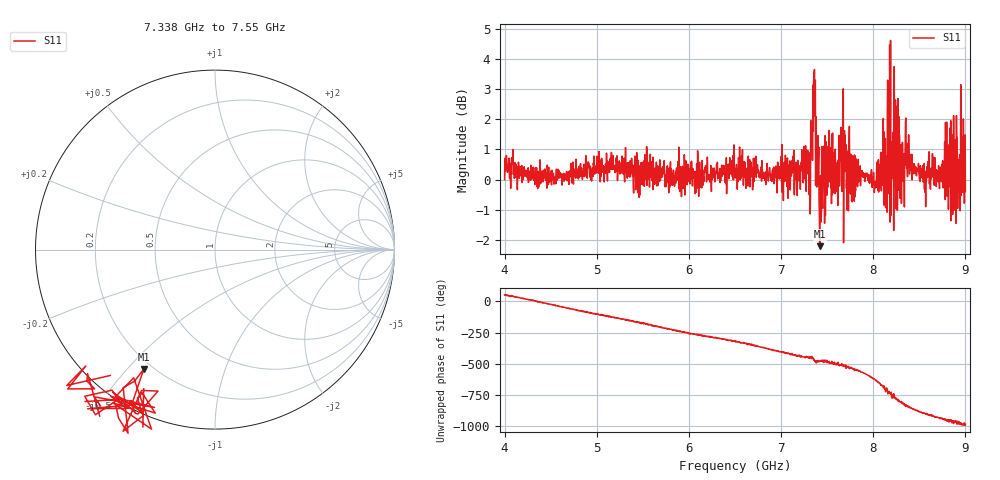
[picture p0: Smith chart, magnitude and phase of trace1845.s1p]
! Created with skrf 1.8.0 (http://scikit-rf.org).
# Hz S RI R 50.0
!freq ReS11 ImS11
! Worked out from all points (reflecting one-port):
!   1601 points, 4 GHz to 9 GHz, reference 50 ohm
!   lowest |S11| = -2.2 dB at 7.419 GHz (marker M1), VSWR 7.88, Z = 8.35 - j27.8 ohm
!   phase of S11 starts at 51 deg and turns -1035 deg over the sweep
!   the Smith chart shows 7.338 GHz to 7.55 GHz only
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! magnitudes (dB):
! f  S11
! 4 GHz  0.0
! 4.625 GHz  -0.2
! 5.25 GHz  0.2
! 5.875 GHz  0.1
! 6.5 GHz  0.2
! 7.125 GHz  0.4
! 7.294 GHz  0.3
! 7.325 GHz  1.3
! 7.347 GHz  3.1
! 7.378 GHz  2.1
! 7.4 GHz  1.5
! 7.419 GHz  -2.2
! 7.438 GHz  -1.1
! 7.534 GHz  0.2
! 7.609 GHz  0.6
! 7.65 GHz  1.7
! 7.703 GHz  0.5
! 7.75 GHz  -0.2
! 8.009 GHz  -0.2
! 8.125 GHz  -0.8
! 8.178 GHz  4.5
! 8.209 GHz  0.1
! 8.253 GHz  0.6
! 8.312 GHz  1.1
! 8.375 GHz  0.7
! 8.553 GHz  0.5
! 8.972 GHz  0.4
! 9 GHz  -0.4
